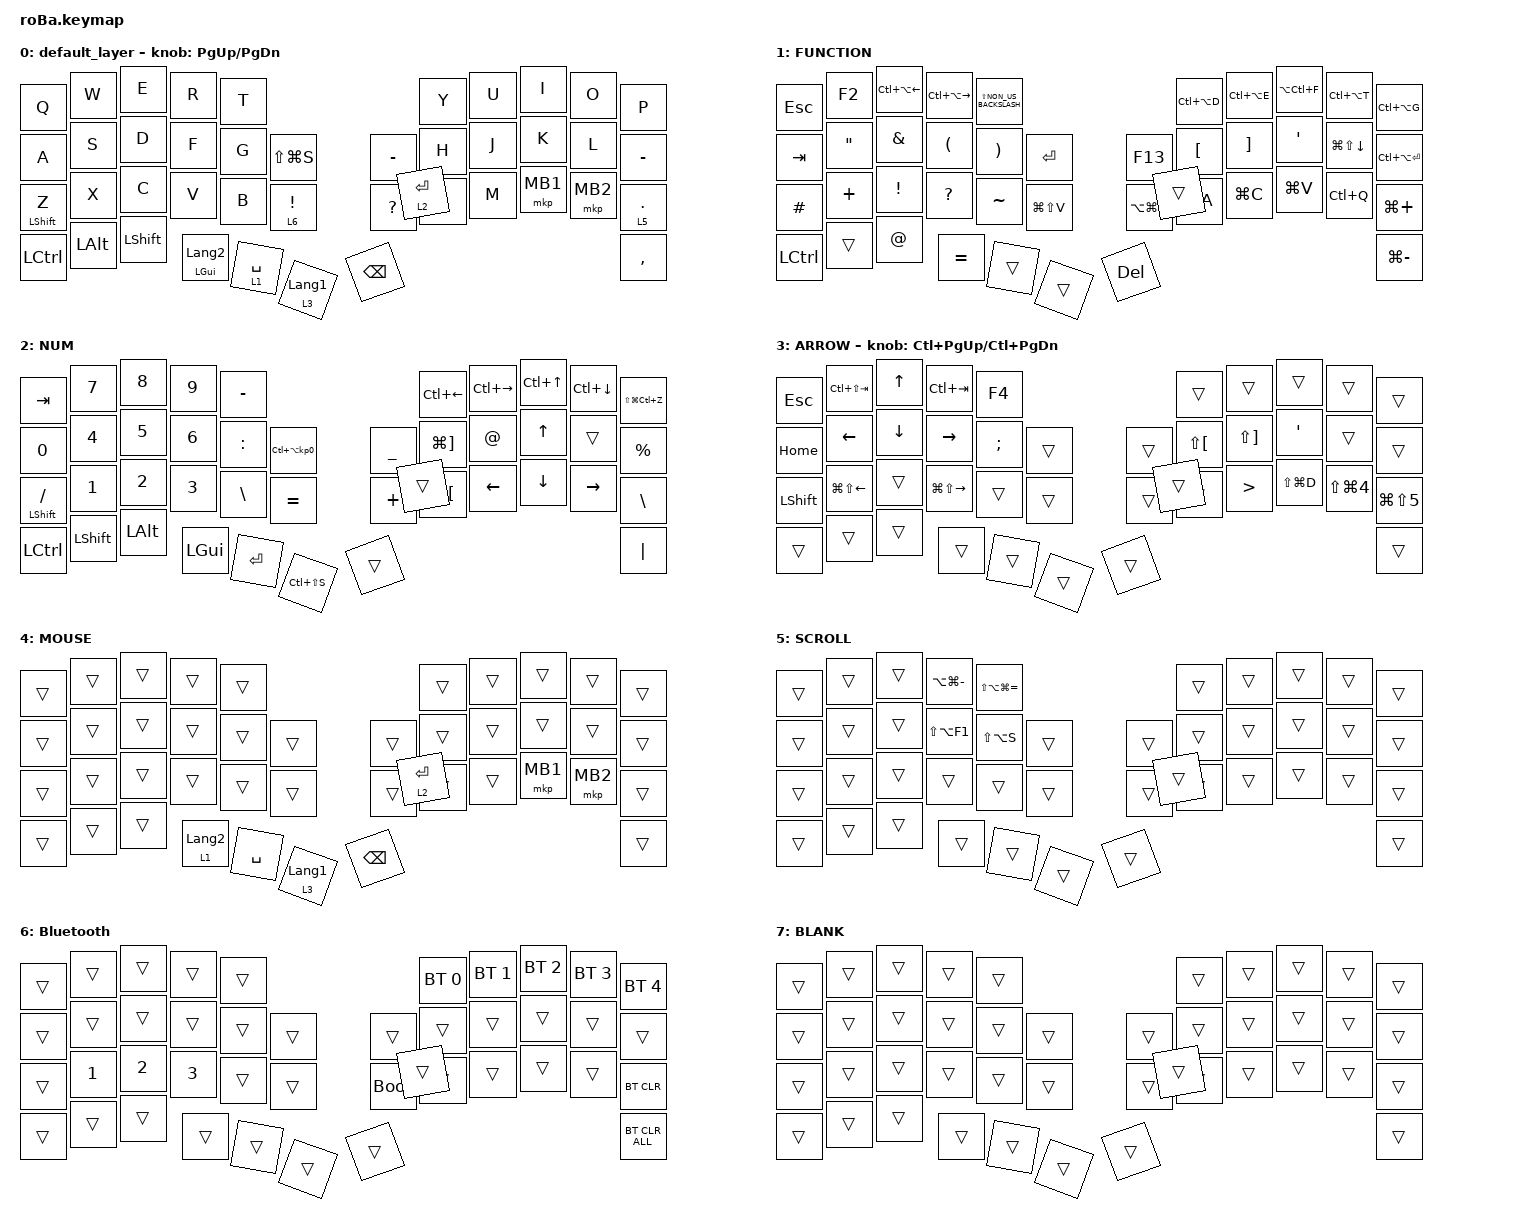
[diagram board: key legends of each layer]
#include <input/processors.dtsi>
#include <behaviors.dtsi>
#include <dt-bindings/zmk/bt.h>
#include <dt-bindings/zmk/keys.h>
#include <dt-bindings/zmk/pointing.h>

&mt {
    flavor = "balanced";
    quick-tap-ms = <0>;
};

&mkp_input_listener { input-processors = <&zip_temp_layer 4 10000>; };

&trackball {
    // automouse-layer = <4>;
    // scroll-layers = <3>;
    // arrows {
    //     layers = <3>;
    //     bindings =
    //         <&kp RIGHT_ARROW>,
    //         <&kp LEFT_ARROW>,
    //         <&kp UP_ARROW>,
    //         <&kp DOWN_ARROW>;
    //     tick = <10>;
    //     wait-ms = <5>;
    //     tap-ms = <5>;
    // };
};

/ {
    combos {
        compatible = "zmk,combos";

        tab {
            bindings = <&kp TAB>;
            key-positions = <11 12>;
        };

        shift_tab {
            bindings = <&kp LS(TAB)>;
            key-positions = <12 13>;
        };

        muhennkann {
            bindings = <&to_layer_0 INT_MUHENKAN>;
            key-positions = <11 10>;
        };

        double_quotation {
            bindings = <&kp DOUBLE_QUOTES>;
            key-positions = <20 21>;
        };

        eq {
            bindings = <&kp EQUAL>;
            key-positions = <24 25>;
        };

        cmd+option+u {
            bindings = <&kp LG(LA(U))>;
            key-positions = <5 6>;
        };

        test {
            bindings = <&mkp MB3>;
            key-positions = <31 32>;
        };
    };

    macros {
        to_layer_0: to_layer_0 {
            compatible = "zmk,behavior-macro-one-param";
            #binding-cells = <1>;
            bindings = <&to 0 &macro_param_1to1 &kp MACRO_PLACEHOLDER>;
            label = "TO_LAYER_0";
        };
    };

    behaviors {
        lt_to_layer_0: lt_to_layer_0 {
            compatible = "zmk,behavior-hold-tap";
            label = "LAYER_TAP_TO_0";
            bindings = <&mo>, <&to_layer_0>;

            #binding-cells = <2>;
            tapping-term-ms = <200>;
        };
    };

    keymap {
        compatible = "zmk,keymap";

        default_layer {
            bindings = <
&kp Q             &kp W         &kp E      &kp R                    &kp T                                              &kp Y        &kp U  &kp I     &kp O     &kp P
&kp A             &kp S         &kp D      &kp F                    &kp G        &kp LS(LG(S))          &kp MINUS      &kp H        &kp J  &kp K     &kp L     &kp MINUS
&mt LEFT_SHIFT Z  &kp X         &kp C      &kp V                    &kp B        &lt 6 EXCLAMATION      &kp QUESTION   &kp N        &kp M  &mkp MB1  &mkp MB2  &lt 5 DOT
&kp LCTRL         &kp LEFT_ALT  &kp LSHFT  &mt LEFT_GUI LANGUAGE_2  &lt 1 SPACE  &lt 3 LANGUAGE_1       &kp BACKSPACE  &lt 2 ENTER                             &kp COMMA
            >;

            sensor-bindings = <&inc_dec_kp PG_UP PAGE_DOWN>;
        };

        FUNCTION {
            bindings = <
&kp ESCAPE        &kp F2             &kp LC(LA(LEFT))  &kp LC(LA(RIGHT))     &kp LS(NON_US_BACKSLASH)                                    &kp LC(LA(D))  &kp LC(LA(E))  &kp LA(LC(F))  &kp LC(LA(T))     &kp LC(LA(G))
&kp TAB           &kp DOUBLE_QUOTES  &kp AMPERSAND     &kp LEFT_PARENTHESIS  &kp RIGHT_PARENTHESIS     &kp ENTER          &kp F13        &kp LBKT       &kp RBKT       &kp APOS       &kp LG(LS(DOWN))  &kp LC(LA(ENTER))
&kp HASH          &kp PLUS           &kp EXCLAMATION   &kp QUESTION          &kp TILDE                 &kp LG(LS(V))      &kp LA(LG(V))  &kp LG(A)      &kp LG(C)      &kp LG(V)      &kp LC(Q)         &kp LG(PLUS)
&kp LEFT_CONTROL  &trans             &kp AT_SIGN       &kp EQUAL             &trans                    &trans             &kp DELETE     &trans                                                         &kp LG(MINUS)
            >;
        };

        NUM {
            bindings = <
&kp TAB               &kp N7          &kp N8        &kp N9        &kp MINUS                                                   &kp LC(LEFT)           &kp LC(RIGHT)  &kp LC(UP_ARROW)  &kp LC(DOWN)  &kp LS(LG(LC(Z)))
&kp N0                &kp NUMBER_4    &kp N5        &kp NUMBER_6  &kp COLON      &kp LC(LA(KP_NUMBER_0))      &kp UNDERSCORE  &kp LG(RIGHT_BRACKET)  &kp AT_SIGN    &kp UP_ARROW      &trans        &kp PERCENT
&mt LEFT_SHIFT SLASH  &kp NUMBER_1    &kp NUMBER_2  &kp NUMBER_3  &kp BACKSLASH  &kp EQUAL                    &kp PLUS        &kp LG(LEFT_BRACKET)   &kp LEFT       &kp DOWN          &kp RIGHT     &kp BACKSLASH
&kp LCTRL             &kp LEFT_SHIFT  &kp LALT      &kp LGUI      &kp ENTER      &kp LC(LS(S))                &trans          &trans                                                                &kp PIPE
            >;
        };

        ARROW {
            bindings = <
&kp ESCAPE      &kp LC(LS(TAB))         &kp UP_ARROW    &kp LC(TAB)              &kp F4                        &trans                &trans                 &trans         &trans                &trans
&kp HOME        &kp LEFT_ARROW          &kp DOWN_ARROW  &kp RIGHT_ARROW          &kp SEMI  &trans      &trans  &kp LS(LEFT_BRACKET)  &kp LS(RIGHT_BRACKET)  &kp SQT        &trans                &trans
&kp LEFT_SHIFT  &kp LG(LS(LEFT_ARROW))  &trans          &kp LG(LS(RIGHT_ARROW))  &trans    &trans      &trans  &kp LESS_THAN         &kp GREATER_THAN       &kp LS(LG(D))  &kp LS(LG(NUMBER_4))  &kp LG(LS(N5))
&trans          &trans                  &trans          &trans                   &trans    &trans      &trans  &trans                                                                            &trans
            >;

            sensor-bindings = <&inc_dec_kp LC(PAGE_UP) LC(PAGE_DOWN)>;
        };

        MOUSE {
            bindings = <
&trans  &trans  &trans  &trans            &trans                                          &trans       &trans  &trans    &trans    &trans
&trans  &trans  &trans  &trans            &trans     &trans                &trans         &trans       &trans  &trans    &trans    &trans
&trans  &trans  &trans  &trans            &trans     &trans                &trans         &trans       &trans  &mkp MB1  &mkp MB2  &trans
&trans  &trans  &trans  &lt 1 LANGUAGE_2  &kp SPACE  &lt 3 LANGUAGE_1      &kp BACKSPACE  &lt 2 ENTER                              &trans
            >;
        };

        SCROLL {
            bindings = <
&trans  &trans  &trans  &kp LA(LG(MINUS))  &kp LS(LA(LG(EQUAL)))                      &trans  &trans  &trans  &trans  &trans
&trans  &trans  &trans  &kp LS(LA(F1))     &kp LS(LA(S))          &trans      &trans  &trans  &trans  &trans  &trans  &trans
&trans  &trans  &trans  &trans             &trans                 &trans      &trans  &trans  &trans  &trans  &trans  &trans
&trans  &trans  &trans  &trans             &trans                 &trans      &trans  &trans                          &trans
            >;
        };

        Bluetooth {
            bindings = <
&trans  &trans        &trans        &trans        &trans                           &bt BT_SEL 0  &bt BT_SEL 1  &bt BT_SEL 2  &bt BT_SEL 3  &bt BT_SEL 4
&trans  &trans        &trans        &trans        &trans  &trans      &trans       &trans        &trans        &trans        &trans        &trans
&trans  &kp NUMBER_1  &kp NUMBER_2  &kp NUMBER_3  &trans  &trans      &bootloader  &trans        &trans        &trans        &trans        &bt BT_CLR
&trans  &trans        &trans        &trans        &trans  &trans      &trans       &trans                                                  &bt BT_CLR_ALL
            >;
        };

        BLANK {
            bindings = <
&trans  &trans  &trans  &trans  &trans                      &trans  &trans  &trans  &trans  &trans
&trans  &trans  &trans  &trans  &trans  &trans      &trans  &trans  &trans  &trans  &trans  &trans
&trans  &trans  &trans  &trans  &trans  &trans      &trans  &trans  &trans  &trans  &trans  &trans
&trans  &trans  &trans  &trans  &trans  &trans      &trans  &trans                          &trans
            >;
        };
    };
};
